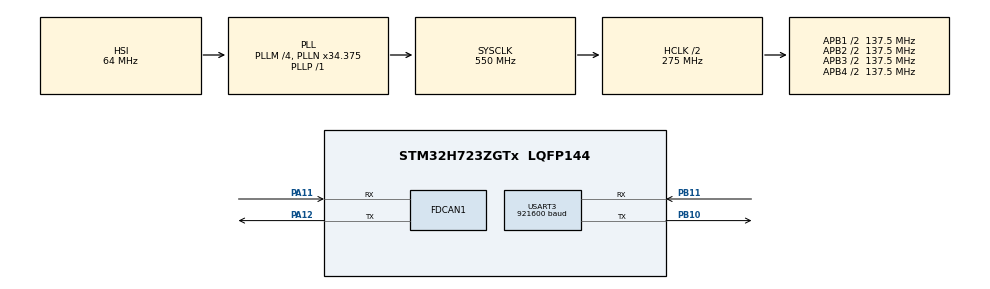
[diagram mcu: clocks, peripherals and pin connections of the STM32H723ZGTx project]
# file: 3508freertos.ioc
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CORTEX_M7.default_mode_Activation=1
FDCAN1.CalculateBaudRateNominal=999999
FDCAN1.CalculateTimeBitNominal=1000
FDCAN1.CalculateTimeQuantumNominal=41.66666666666667
FDCAN1.NominalPrescaler=5
FDCAN1.NominalTimeSeg1=11
FDCAN1.NominalTimeSeg2=12
FDCAN1.RxBuffersNbr=8
FDCAN1.RxFifo0ElmtsNbr=8
FDCAN1.RxFifo1ElmtsNbr=8
FDCAN1.TxFifoQueueElmtsNbr=8
FREERTOS.Mutexes01=motorDataMutex,Dynamic,NULL,Available
FREERTOS.Tasks01=defaultTask,24,256,StartDefaultTask,Default,NULL,Dynamic,NULL,NULL;motorPIDTASK,40,512,StartMotorPIDTask,Default,NULL,Dynamic,NULL,NULL;motorCurTask,24,512,StartMotorCurTask,Default,NULL,Dynamic,NULL,NULL
Mcu.Family=STM32H7
Mcu.Name=STM32H723ZGTx
Mcu.Package=LQFP144
NVIC.PriorityGroup=NVIC_PRIORITYGROUP_4
NVIC.TIM1_UP_IRQn=true\:5\:0\:false\:false\:true\:true\:true\:true\:true
NVIC.TIM2_IRQn=true\:5\:0\:false\:false\:true\:true\:true\:true\:true
PA11.Mode=FDCAN_Activate
PA11.Signal=FDCAN1_RX
PA12.Mode=FDCAN_Activate
PA12.Signal=FDCAN1_TX
PA13(JTMS/SWDIO).Mode=Serial_Wire
PA13(JTMS/SWDIO).Signal=DEBUG_JTMS-SWDIO
PA14(JTCK/SWCLK).Mode=Serial_Wire
PA14(JTCK/SWCLK).Signal=DEBUG_JTCK-SWCLK
PB10.Mode=Asynchronous
PB10.Signal=USART3_TX
PB11.Mode=Asynchronous
PB11.Signal=USART3_RX
PC14-OSC32_IN.Mode=LSE-External-Oscillator
PC14-OSC32_IN.Signal=RCC_OSC32_IN
PC15-OSC32_OUT.Mode=LSE-External-Oscillator
PC15-OSC32_OUT.Signal=RCC_OSC32_OUT
PH0-OSC_IN.Mode=HSE-External-Oscillator
PH0-OSC_IN.Signal=RCC_OSC_IN
PH1-OSC_OUT.Mode=HSE-External-Oscillator
PH1-OSC_OUT.Signal=RCC_OSC_OUT
ProjectManager.HeapSize=0x200
ProjectManager.StackSize=0x400
ProjectManager.TargetToolchain=MDK-ARM V5.32
RCC.ADCFreq_Value=120000000
RCC.APB1Freq_Value=137500000
RCC.APB2Freq_Value=137500000
RCC.APB3Freq_Value=137500000
RCC.APB4Freq_Value=137500000
RCC.CortexFreq_Value=550000000
RCC.D1PPRE=RCC_APB3_DIV2
RCC.D2PPRE1=RCC_APB1_DIV2
RCC.D2PPRE2=RCC_APB2_DIV2
RCC.D3PPRE=RCC_APB4_DIV2
RCC.DIVM1=4
RCC.DIVN1=34
RCC.DIVN2=120
RCC.DIVP1=1
RCC.DIVQ1=4
RCC.FDCANCLockSelection=RCC_FDCANCLKSOURCE_PLL2
RCC.HCLKFreq_Value=275000000
RCC.HPRE=RCC_HCLK_DIV2
RCC.PLL2FRACN=0
RCC.PLL3FRACN=0
RCC.PLLFRACN=3072
RCC.SYSCLKFreq_VALUE=550000000
RCC.SYSCLKSource=RCC_SYSCLKSOURCE_PLLCLK
RCC.USBFreq_Value=137500000
TIM1.Period=1000-1
TIM1.Prescaler=275-1
TIM2.Period=1000-1
TIM2.Prescaler=275-1
USART3.BaudRate=921600
USART3.VirtualMode-Asynchronous=VM_ASYNC
VP_FREERTOS_VS_CMSIS_V2.Mode=CMSIS_V2
VP_MEMORYMAP_VS_MEMORYMAP.Mode=CurAppReg
VP_TIM1_VS_ClockSourceINT.Mode=Internal
VP_TIM2_VS_ClockSourceINT.Mode=Internal
board=custom

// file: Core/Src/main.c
/* USER CODE BEGIN Header */
/**
  ******************************************************************************
  * @file           : main.c
  * @brief          : Main program body
  ******************************************************************************
  * @attention
  *
  * Copyright (c) 2026 STMicroelectronics.
  * All rights reserved.
  *
  * This software is licensed under terms that can be found in the LICENSE file
  * in the root directory of this software component.
  * If no LICENSE file comes with this software, it is provided AS-IS.
  *
  ******************************************************************************
  */
/* USER CODE END Header */
#include "main.h"
#include "FreeRTOS.h"
#include "cmsis_os2.h"
#include "fdcan.h"
#include "tim.h"
#include "usart.h"
#include "gpio.h"

/* USER CODE BEGIN Includes */
#include "motor_app.h"
/* USER CODE END Includes */

void SystemClock_Config(void);
static void MPU_Config(void);
void MX_FREERTOS_Init(void);

int main(void)
{

  /* MPU Configuration--------------------------------------------------------*/
  MPU_Config();

  /* MCU Configuration--------------------------------------------------------*/

  /* Reset of all peripherals, Initializes the Flash interface and the Systick. */
  HAL_Init();

  /* Configure the system clock */
  SystemClock_Config();

  /* Initialize all configured peripherals */
  MX_GPIO_Init();
  MX_USART3_UART_Init();
  MX_FDCAN1_Init();
  MX_TIM1_Init();
  MX_TIM2_Init();

  /* USER CODE BEGIN 2 */

  HAL_TIM_Base_Start_IT(&htim1); // 启动定时器1中断（1kHz 发电流）
  HAL_TIM_Base_Start_IT(&htim2); // 启动定时器2中断（500Hz PID）
  Motor_AppInit();               // 电机初始化（CAN/PID/参数），见 motor_app.c
  HAL_FDCAN_Start(&hfdcan1);
  /* USER CODE END 2 */

  /* Init scheduler */
  osKernelInitialize();  /* Call init function for freertos objects (in cmsis_os2.c) */
  MX_FREERTOS_Init();

  /* Start scheduler */
  osKernelStart();

  /* We should never get here as control is now taken by the scheduler */

  /* Infinite loop */
  while (1)
  {

  }
}

void SystemClock_Config(void)
{
  RCC_OscInitTypeDef RCC_OscInitStruct = {0};
  RCC_ClkInitTypeDef RCC_ClkInitStruct = {0};

  /** Supply configuration update enable
  */
  HAL_PWREx_ConfigSupply(PWR_LDO_SUPPLY);

  /** Configure the main internal regulator output voltage
  */
  __HAL_PWR_VOLTAGESCALING_CONFIG(PWR_REGULATOR_VOLTAGE_SCALE0);

  while(!__HAL_PWR_GET_FLAG(PWR_FLAG_VOSRDY)) {}

  /** Initializes the RCC Oscillators according to the specified parameters
  * in the RCC_OscInitTypeDef structure.
  */
  RCC_OscInitStruct.OscillatorType = RCC_OSCILLATORTYPE_HSI;
  RCC_OscInitStruct.HSIState = RCC_HSI_DIV1;
  RCC_OscInitStruct.HSICalibrationValue = 64;
  RCC_OscInitStruct.PLL.PLLState = RCC_PLL_ON;
  RCC_OscInitStruct.PLL.PLLSource = RCC_PLLSOURCE_HSI;
  RCC_OscInitStruct.PLL.PLLM = 4;
  RCC_OscInitStruct.PLL.PLLN = 34;
  RCC_OscInitStruct.PLL.PLLP = 1;
  RCC_OscInitStruct.PLL.PLLQ = 4;
  RCC_OscInitStruct.PLL.PLLR = 2;
  RCC_OscInitStruct.PLL.PLLRGE = RCC_PLL1VCIRANGE_3;
  RCC_OscInitStruct.PLL.PLLVCOSEL = RCC_PLL1VCOWIDE;
  RCC_OscInitStruct.PLL.PLLFRACN = 3072;
  if (HAL_RCC_OscConfig(&RCC_OscInitStruct) != HAL_OK)
  {
    Error_Handler();
  }

  /** Initializes the CPU, AHB and APB buses clocks
  */
  RCC_ClkInitStruct.ClockType = RCC_CLOCKTYPE_HCLK|RCC_CLOCKTYPE_SYSCLK
                              |RCC_CLOCKTYPE_PCLK1|RCC_CLOCKTYPE_PCLK2
                              |RCC_CLOCKTYPE_D3PCLK1|RCC_CLOCKTYPE_D1PCLK1;
  RCC_ClkInitStruct.SYSCLKSource = RCC_SYSCLKSOURCE_PLLCLK;
  RCC_ClkInitStruct.SYSCLKDivider = RCC_SYSCLK_DIV1;
  RCC_ClkInitStruct.AHBCLKDivider = RCC_HCLK_DIV2;
  RCC_ClkInitStruct.APB3CLKDivider = RCC_APB3_DIV2;
  RCC_ClkInitStruct.APB1CLKDivider = RCC_APB1_DIV2;
  RCC_ClkInitStruct.APB2CLKDivider = RCC_APB2_DIV2;
  RCC_ClkInitStruct.APB4CLKDivider = RCC_APB4_DIV2;

  if (HAL_RCC_ClockConfig(&RCC_ClkInitStruct, FLASH_LATENCY_3) != HAL_OK)
  {
    Error_Handler();
  }
}

 /* MPU Configuration */

void MPU_Config(void)
{
  MPU_Region_InitTypeDef MPU_InitStruct = {0};

  /* Disables the MPU */
  HAL_MPU_Disable();

  /** Initializes and configures the Region and the memory to be protected
  */
  MPU_InitStruct.Enable = MPU_REGION_ENABLE;
  MPU_InitStruct.Number = MPU_REGION_NUMBER0;
  MPU_InitStruct.BaseAddress = 0x0;
  MPU_InitStruct.Size = MPU_REGION_SIZE_4GB;
  MPU_InitStruct.SubRegionDisable = 0x87;
  MPU_InitStruct.TypeExtField = MPU_TEX_LEVEL0;
  MPU_InitStruct.AccessPermission = MPU_REGION_NO_ACCESS;
  MPU_InitStruct.DisableExec = MPU_INSTRUCTION_ACCESS_DISABLE;
  MPU_InitStruct.IsShareable = MPU_ACCESS_SHAREABLE;
  MPU_InitStruct.IsCacheable = MPU_ACCESS_NOT_CACHEABLE;
  MPU_InitStruct.IsBufferable = MPU_ACCESS_NOT_BUFFERABLE;

  HAL_MPU_ConfigRegion(&MPU_InitStruct);
  /* Enables the MPU */
  HAL_MPU_Enable(MPU_PRIVILEGED_DEFAULT);

}

void Error_Handler(void)
{
  __disable_irq();
  while (1)
  {
  }
}

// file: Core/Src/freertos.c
/* USER CODE BEGIN Header */
/**
  ******************************************************************************
  * File Name          : freertos.c
  * Description        : Code for freertos applications
  ******************************************************************************
  * @attention
  *
  * Copyright (c) 2026 STMicroelectronics.
  * All rights reserved.
  *
  * This software is licensed under terms that can be found in the LICENSE file
  * in the root directory of this software component.
  * If no LICENSE file comes with this software, it is provided AS-IS.
  *
  ******************************************************************************
  */
/* USER CODE END Header */

#include "FreeRTOS.h"
#include "task.h"
#include "main.h"
#include "FreeRTOS.h"
#include "cmsis_os2.h"

/* USER CODE BEGIN Includes */
#include "motor_app.h"
/* USER CODE END Includes */

/* Definitions for defaultTask */
osThreadId_t defaultTaskHandle;
const osThreadAttr_t defaultTask_attributes = {
  .name = "defaultTask",
  .stack_size = 256 * 4,
  .priority = (osPriority_t) osPriorityNormal,
};
/* Definitions for motorPIDTASK */
osThreadId_t motorPIDTASKHandle;
const osThreadAttr_t motorPIDTASK_attributes = {
  .name = "motorPIDTASK",
  .stack_size = 512 * 4,
  .priority = (osPriority_t) osPriorityHigh,
};
/* Definitions for motorCurTask */
osThreadId_t motorCurTaskHandle;
const osThreadAttr_t motorCurTask_attributes = {
  .name = "motorCurTask",
  .stack_size = 512 * 4,
  .priority = (osPriority_t) osPriorityHigh,
};
/* Definitions for motorDataMutex */
osMutexId_t motorDataMutexHandle;
const osMutexAttr_t motorDataMutex_attributes = {
  .name = "motorDataMutex"
};

void StartDefaultTask(void *argument);
void StartMotorPIDTask(void *argument);
void StartMotorCurTask(void *argument);

void MX_FREERTOS_Init(void); /* (MISRA C 2004 rule 8.1) */

void MX_FREERTOS_Init(void) {
  /* Create the mutex(es) */
  /* creation of motorDataMutex */
  motorDataMutexHandle = osMutexNew(&motorDataMutex_attributes);

  /* Create the thread(s) */
  /* creation of defaultTask */
  defaultTaskHandle = osThreadNew(StartDefaultTask, NULL, &defaultTask_attributes);

  /* creation of motorPIDTASK */
  motorPIDTASKHandle = osThreadNew(StartMotorPIDTask, NULL, &motorPIDTASK_attributes);

  /* creation of motorCurTask */
  motorCurTaskHandle = osThreadNew(StartMotorCurTask, NULL, &motorCurTask_attributes);

}

void StartDefaultTask(void *argument)
{
  for(;;)
  {
    osDelay(1);
  }
}

void StartMotorPIDTask(void *argument)
{
  /* USER CODE BEGIN StartMotorPIDTask */
  /* Infinite loop */
  for(;;)
  {
    osThreadFlagsWait(0x01, osFlagsWaitAny, osWaitForever);
    osMutexAcquire(motorDataMutexHandle, osWaitForever);
    Motor_PIDUpdate();
    //VOFA_Send();  // 需要遥测时取消注释
    osMutexRelease(motorDataMutexHandle);
  }
  /* USER CODE END StartMotorPIDTask */
}

void StartMotorCurTask(void *argument)
{
  /* USER CODE BEGIN StartMotorCurTask */
  /* Infinite loop */
  for(;;)
  {
    osThreadFlagsWait(0x01, osFlagsWaitAny, osWaitForever);// 等待 TIM1 1kHz 中断触发
    osMutexAcquire(motorDataMutexHandle, osWaitForever);
    Motor_CurUpdate();
    osMutexRelease(motorDataMutexHandle);

    // VOFA_Send();  // 需要遥测时取消注释
  }
  /* USER CODE END StartMotorCurTask */
}

/* USER CODE BEGIN Application */

// TIM1/TIM2 中断
void HAL_TIM_PeriodElapsedCallback(TIM_HandleTypeDef *htim) {
    if (htim->Instance == TIM1) {        // TIM1 1kHz -> 发电流任务
        if (motorCurTaskHandle != NULL) {
            osThreadFlagsSet(motorCurTaskHandle, 0x01);
        }
    } else if (htim->Instance == TIM2) { // TIM2 500Hz -> PID 任务
        if (motorPIDTASKHandle != NULL) {
            osThreadFlagsSet(motorPIDTASKHandle, 0x01);
        }
    }
}

/* USER CODE END Application */
